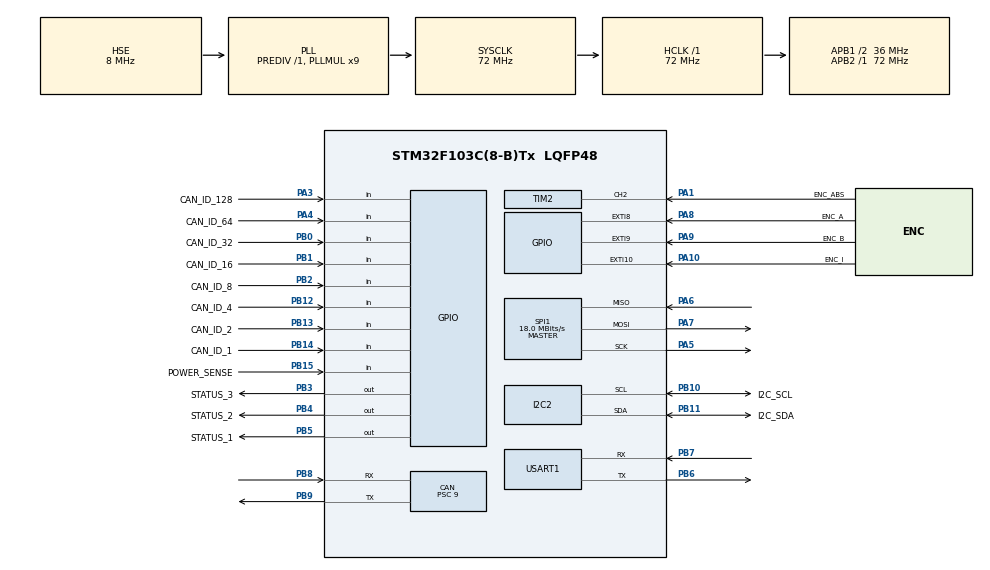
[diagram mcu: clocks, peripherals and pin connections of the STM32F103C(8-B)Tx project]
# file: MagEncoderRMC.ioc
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CAN.BS1=CAN_BS1_2TQ
CAN.CalculateTimeBit=1000
CAN.CalculateTimeQuantum=250.0
CAN.NART=ENABLE
CAN.Prescaler=9
CAN.TTCM=DISABLE
I2C2.I2C_Mode=I2C_Standard
Mcu.Family=STM32F1
Mcu.Name=STM32F103C(8-B)Tx
Mcu.Package=LQFP48
NVIC.EXTI15_10_IRQn=true\:0\:0\:false\:false\:true\:true\:true
NVIC.PriorityGroup=NVIC_PRIORITYGROUP_4
PA1.GPIO_Label=ENC_ABS
PA1.Signal=S_TIM2_CH2
PA10.GPIO_Label=ENC_I
PA10.GPIO_ModeDefaultEXTI=GPIO_MODE_IT_RISING
PA10.GPIO_PuPd=GPIO_PULLDOWN
PA10.Signal=GPXTI10
PA13.Mode=Serial_Wire
PA13.Signal=SYS_JTMS-SWDIO
PA14.Mode=Serial_Wire
PA14.Signal=SYS_JTCK-SWCLK
PA3.GPIO_Label=CAN_ID_128
PA3.GPIO_PuPd=GPIO_PULLDOWN
PA3.Signal=GPIO_Input
PA4.GPIO_Label=CAN_ID_64
PA4.GPIO_PuPd=GPIO_PULLDOWN
PA4.Signal=GPIO_Input
PA5.Mode=Full_Duplex_Master
PA5.Signal=SPI1_SCK
PA6.Mode=Full_Duplex_Master
PA6.Signal=SPI1_MISO
PA7.Mode=Full_Duplex_Master
PA7.Signal=SPI1_MOSI
PA8.GPIO_Label=ENC_A
PA8.GPIO_ModeDefaultEXTI=GPIO_MODE_IT_RISING_FALLING
PA8.GPIO_PuPd=GPIO_PULLDOWN
PA8.Signal=GPXTI8
PA9.GPIO_Label=ENC_B
PA9.GPIO_ModeDefaultEXTI=GPIO_MODE_IT_RISING_FALLING
PA9.GPIO_PuPd=GPIO_PULLDOWN
PA9.Signal=GPXTI9
PB0.GPIO_Label=CAN_ID_32
PB0.GPIO_PuPd=GPIO_PULLDOWN
PB0.Signal=GPIO_Input
PB1.GPIO_Label=CAN_ID_16
PB1.GPIO_PuPd=GPIO_PULLDOWN
PB1.Signal=GPIO_Input
PB10.GPIO_Label=I2C_SCL
PB10.Mode=I2C
PB10.Signal=I2C2_SCL
PB11.GPIO_Label=I2C_SDA
PB11.Mode=I2C
PB11.Signal=I2C2_SDA
PB12.GPIO_Label=CAN_ID_4
PB12.GPIO_PuPd=GPIO_PULLDOWN
PB12.Signal=GPIO_Input
PB13.GPIO_Label=CAN_ID_2
PB13.GPIO_PuPd=GPIO_PULLDOWN
PB13.Signal=GPIO_Input
PB14.GPIO_Label=CAN_ID_1
PB14.GPIO_PuPd=GPIO_PULLDOWN
PB14.Signal=GPIO_Input
PB15.GPIO_Label=POWER_SENSE
PB15.GPIO_PuPd=GPIO_NOPULL
PB15.Signal=GPIO_Input
PB2.GPIO_Label=CAN_ID_8
PB2.GPIO_PuPd=GPIO_PULLDOWN
PB2.Signal=GPIO_Input
PB3.GPIO_Label=STATUS_3
PB3.GPIO_PuPd=GPIO_PULLDOWN
PB3.GPIO_Speed=GPIO_SPEED_FREQ_LOW
PB3.PinState=GPIO_PIN_RESET
PB3.Signal=GPIO_Output
PB4.GPIO_Label=STATUS_2
PB4.GPIO_PuPd=GPIO_PULLDOWN
PB4.PinState=GPIO_PIN_RESET
PB4.Signal=GPIO_Output
PB5.GPIO_Label=STATUS_1
PB5.GPIO_PuPd=GPIO_PULLDOWN
PB5.Signal=GPIO_Output
PB6.Mode=Asynchronous
PB6.Signal=USART1_TX
PB7.Mode=Asynchronous
PB7.Signal=USART1_RX
PB8.Mode=Master
PB8.Signal=CAN_RX
PB9.Mode=Master
PB9.Signal=CAN_TX
PD0-OSC_IN.Mode=HSE-External-Oscillator
PD0-OSC_IN.Signal=RCC_OSC_IN
PD1-OSC_OUT.Mode=HSE-External-Oscillator
PD1-OSC_OUT.Signal=RCC_OSC_OUT
ProjectManager.HeapSize=0x200
ProjectManager.StackSize=0x400
ProjectManager.TargetToolchain=SW4STM32
RCC.AHBFreq_Value=72000000
RCC.APB1CLKDivider=RCC_HCLK_DIV2
RCC.APB1Freq_Value=36000000
RCC.APB1TimFreq_Value=72000000
RCC.APB2Freq_Value=72000000
RCC.APB2TimFreq_Value=72000000
RCC.HCLKFreq_Value=72000000
RCC.PLLMUL=RCC_PLL_MUL9
RCC.PLLSourceVirtual=RCC_PLLSOURCE_HSE
RCC.SYSCLKFreq_VALUE=72000000
RCC.SYSCLKSource=RCC_SYSCLKSOURCE_PLLCLK
RCC.USBFreq_Value=72000000
SH.S_TIM2_CH2.0=TIM2_CH2,PWM_Input_2
SPI1.BaudRatePrescaler=SPI_BAUDRATEPRESCALER_4
SPI1.CRCCalculation=SPI_CRCCALCULATION_DISABLE
SPI1.CalculateBaudRate=18.0 MBits/s
SPI1.DataSize=SPI_DATASIZE_16BIT
SPI1.Direction=SPI_DIRECTION_2LINES
SPI1.Mode=SPI_MODE_MASTER
SPI1.VirtualType=VM_MASTER
TIM2.CounterMode=TIM_COUNTERMODE_UP
USART1.VirtualMode=VM_ASYNC
VP_TIM2_VS_ClockSourceINT.Mode=Internal
board=custom

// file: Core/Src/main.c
/* USER CODE BEGIN Header */
/**
  ******************************************************************************
  * @file           : main.c
  * @brief          : Main program body
  ******************************************************************************
  * @attention
  *
  * <h2><center>&copy; Copyright (c) 2020 STMicroelectronics.
  * All rights reserved.</center></h2>
  *
  * This software component is licensed by ST under BSD 3-Clause license,
  * the "License"; You may not use this file except in compliance with the
  * License. You may obtain a copy of the License at:
  *                        opensource.org/licenses/BSD-3-Clause
  *
  ******************************************************************************
  */
/* USER CODE END Header */

#include "main.h"

/* USER CODE BEGIN Includes */
#include <string.h>
#include <stdbool.h>

#include "utils.h"
#include "memory.h"
#include "encoder.h"
#include "can.h"
/* USER CODE END Includes */

CAN_HandleTypeDef hcan;

I2C_HandleTypeDef hi2c2;

SPI_HandleTypeDef hspi1;

TIM_HandleTypeDef htim2;

UART_HandleTypeDef huart1;

void SystemClock_Config(void);
static void MX_GPIO_Init(void);
static void MX_CAN_Init(void);
static void MX_USART1_UART_Init(void);
static void MX_I2C2_Init(void);
static void MX_SPI1_Init(void);
static void MX_TIM2_Init(void);

/* USER CODE BEGIN 0 */

#define HAL_CHECK(func) if((func) != HAL_OK) { Error_Handler(); }

int16_t CAN_id;
bool power_ok;

uint64_t i2c_buffer;

Encoder_t encoder;
EncoderSettings_t encoder_settings;
EncoderDiagnostics_t encoder_diagnostics;

/* USER CODE END 0 */

int main(void)
{

  /* MCU Configuration--------------------------------------------------------*/

  /* Reset of all peripherals, Initializes the Flash interface and the Systick. */
  HAL_Init();

  /* Configure the system clock */
  SystemClock_Config();

  /* USER CODE BEGIN SysInit */

  __HAL_RCC_I2C2_CLK_ENABLE();

  /* USER CODE END SysInit */

  /* Initialize all configured peripherals */
  MX_GPIO_Init();
  MX_CAN_Init();
  MX_USART1_UART_Init();
  MX_I2C2_Init();
  MX_SPI1_Init();
  MX_TIM2_Init();
  /* USER CODE BEGIN 2 */
  if(HAL_CAN_Start(&hcan)) {
      Error_Handler();
  }

  CAN_id = 0b00000000;
  CAN_id += (HAL_GPIO_ReadPin(CAN_ID_1_GPIO_Port, CAN_ID_1_Pin) << 0u);
  CAN_id += (HAL_GPIO_ReadPin(CAN_ID_2_GPIO_Port, CAN_ID_2_Pin) << 1u);
  CAN_id += (HAL_GPIO_ReadPin(CAN_ID_4_GPIO_Port, CAN_ID_4_Pin) << 2u);
  CAN_id += (HAL_GPIO_ReadPin(CAN_ID_8_GPIO_Port, CAN_ID_8_Pin) << 3u);
  CAN_id += (HAL_GPIO_ReadPin(CAN_ID_16_GPIO_Port, CAN_ID_16_Pin) << 4u);
  CAN_id += (HAL_GPIO_ReadPin(CAN_ID_32_GPIO_Port, CAN_ID_32_Pin) << 5u);
  CAN_id += (HAL_GPIO_ReadPin(CAN_ID_64_GPIO_Port, CAN_ID_64_Pin) << 6u);
  CAN_id += (HAL_GPIO_ReadPin(CAN_ID_128_GPIO_Port, CAN_ID_128_Pin) << 7u);

  // initialize encoder
  encoder_init(&encoder);
  // encoder settings
  encoder_settings.zero_offset = 0;
  encoder_settings.error_en.error_low = 1;
  encoder_settings.error_en.error_high = 1;
  encoder_settings.settings1.iwidth = 0;
  encoder_settings.settings1.noiseset = 0;
  encoder_settings.settings1.dir = 0;
  encoder_settings.settings1.daecdis = 0;
  encoder_settings.settings1.dataselect = 0;
  encoder_settings.settings1.pwmon = 1;
  encoder_settings.settings2 = 0x0;

    HAL_CHECK(encoder_config_all_settings(&hspi1, &encoder, &encoder_settings));

  if(encoder_get_absolute_position(&hspi1, &encoder) != HAL_OK) {
      Error_Handler();
  }

  //eeprom

//    memset(i2c_buffer, 0, 128);
    #ifdef RESET_EEPROM_MEMORY
        HAL_CHECK(eeprom_clear_all(&hi2c2));
    #endif

    HAL_CHECK(eeprom_read_page(&hi2c2, ENCODER_TICKS_LOCATION, &i2c_buffer));
    encoder.count = (int32_t) i2c_buffer;

    HAL_CHECK(eeprom_read_page(&hi2c2, ENCODER_POLARITY_LOCATION, &i2c_buffer));

    HAL_CHECK(eeprom_read_page(&hi2c2, ENCODER_ABSOLUTE_OFFSET_LOCATION, &i2c_buffer));

    HAL_CHECK(eeprom_read_page(&hi2c2, FEEDBACK_PERIOD_LOCATION, &i2c_buffer));

  /* USER CODE END 2 */

  /* Infinite loop */
  while (1)
  {

    /* USER CODE BEGIN 3 */
    #ifdef HAS_5V5
        power_ok = HAL_GPIO_ReadPin(POWER_SENSE_GPIO_Port, POWER_SENSE_Pin);
    #else
        power_ok = true;
    #endif
    // check for panic (ie: the power is lo
    if(!power_ok) {
        // panic
        __disable_irq();
        HAL_GPIO_WritePin(STATUS_1_GPIO_Port, STATUS_1_Pin, 0);
        HAL_GPIO_WritePin(STATUS_2_GPIO_Port, STATUS_2_Pin, 0);
        HAL_GPIO_WritePin(STATUS_3_GPIO_Port, STATUS_3_Pin, 0);

        i2c_buffer = encoder.count;
        HAL_CHECK(eeprom_write_page(&hi2c2, ENCODER_TICKS_LOCATION, &i2c_buffer));
        i2c_buffer = encoder.inverted;
        HAL_CHECK(eeprom_write_page(&hi2c2, ENCODER_POLARITY_LOCATION, &i2c_buffer));
        i2c_buffer = encoder.absolute_offset;
        HAL_CHECK(eeprom_write_page(&hi2c2, ENCODER_ABSOLUTE_OFFSET_LOCATION, &i2c_buffer));
        i2c_buffer = 20; // CHANGE THIS LATER
        HAL_CHECK(eeprom_write_page(&hi2c2, FEEDBACK_PERIOD_LOCATION, &i2c_buffer));

        // wait until power is back
        while(!HAL_GPIO_ReadPin(POWER_SENSE_GPIO_Port, POWER_SENSE_Pin)) {}
        __enable_irq();
        continue;
    }

    uint32_t can_frame_available = HAL_CAN_GetRxFifoFillLevel(&hcan, CAN_RX_FIFO0);
    if(can_frame_available > 0) {
        CAN_RxHeaderTypeDef hddr;
        uint8_t data[8];
        HAL_CAN_GetRxMessage(&hcan, CAN_RX_FIFO0, &hddr, data);
    }

      encoder_get_diagnostics(&hspi1, &encoder, &encoder_diagnostics);
      encoder_get_errors(&hspi1, &encoder, &encoder_diagnostics);
      encoder_get_absolute_position(&hspi1, &encoder);

      // turn off status1 led if magnet placement is good
      if(!encoder_diagnostics.mag_low && !encoder_diagnostics.mag_high) {
          HAL_GPIO_WritePin(STATUS_2_GPIO_Port, STATUS_2_Pin, 0);
      } else {
          HAL_GPIO_WritePin(STATUS_2_GPIO_Port, STATUS_2_Pin, 1);
      }
  }
  /* USER CODE END 3 */
}

void SystemClock_Config(void)
{
  RCC_OscInitTypeDef RCC_OscInitStruct = {0};
  RCC_ClkInitTypeDef RCC_ClkInitStruct = {0};

  /** Initializes the CPU, AHB and APB busses clocks
  */
  RCC_OscInitStruct.OscillatorType = RCC_OSCILLATORTYPE_HSE;
  RCC_OscInitStruct.HSEState = RCC_HSE_ON;
  RCC_OscInitStruct.HSEPredivValue = RCC_HSE_PREDIV_DIV1;
  RCC_OscInitStruct.HSIState = RCC_HSI_ON;
  RCC_OscInitStruct.PLL.PLLState = RCC_PLL_ON;
  RCC_OscInitStruct.PLL.PLLSource = RCC_PLLSOURCE_HSE;
  RCC_OscInitStruct.PLL.PLLMUL = RCC_PLL_MUL9;
  if (HAL_RCC_OscConfig(&RCC_OscInitStruct) != HAL_OK)
  {
    Error_Handler();
  }
  /** Initializes the CPU, AHB and APB busses clocks
  */
  RCC_ClkInitStruct.ClockType = RCC_CLOCKTYPE_HCLK|RCC_CLOCKTYPE_SYSCLK
                              |RCC_CLOCKTYPE_PCLK1|RCC_CLOCKTYPE_PCLK2;
  RCC_ClkInitStruct.SYSCLKSource = RCC_SYSCLKSOURCE_PLLCLK;
  RCC_ClkInitStruct.AHBCLKDivider = RCC_SYSCLK_DIV1;
  RCC_ClkInitStruct.APB1CLKDivider = RCC_HCLK_DIV2;
  RCC_ClkInitStruct.APB2CLKDivider = RCC_HCLK_DIV1;

  if (HAL_RCC_ClockConfig(&RCC_ClkInitStruct, FLASH_LATENCY_2) != HAL_OK)
  {
    Error_Handler();
  }
}

static void MX_CAN_Init(void)
{

  hcan.Instance = CAN1;
  hcan.Init.Prescaler = 9;
  hcan.Init.Mode = CAN_MODE_NORMAL;
  hcan.Init.SyncJumpWidth = CAN_SJW_1TQ;
  hcan.Init.TimeSeg1 = CAN_BS1_2TQ;
  hcan.Init.TimeSeg2 = CAN_BS2_1TQ;
  hcan.Init.TimeTriggeredMode = DISABLE;
  hcan.Init.AutoBusOff = DISABLE;
  hcan.Init.AutoWakeUp = DISABLE;
  hcan.Init.AutoRetransmission = ENABLE;
  hcan.Init.ReceiveFifoLocked = DISABLE;
  hcan.Init.TransmitFifoPriority = DISABLE;
  if (HAL_CAN_Init(&hcan) != HAL_OK)
  {
    Error_Handler();
  }
  /* USER CODE BEGIN CAN_Init 2 */
    CAN_FilterTypeDef can_filter = {};

    can_filter.FilterFIFOAssignment = CAN_RX_FIFO0;
    can_filter.FilterMode = CAN_FILTERMODE_IDMASK;
    can_filter.FilterScale = CAN_FILTERSCALE_32BIT;
    can_filter.FilterIdHigh = 0x0000;
    can_filter.FilterIdLow = 0x0000;
    can_filter.FilterMaskIdHigh = 0x0000;
    can_filter.FilterMaskIdLow = 0x0000;
    can_filter.FilterBank = 0;
    can_filter.FilterActivation = CAN_FILTER_ENABLE;
    HAL_CAN_ConfigFilter(&hcan, &can_filter);
  /* USER CODE END CAN_Init 2 */

}

static void MX_I2C2_Init(void)
{

  hi2c2.Instance = I2C2;
  hi2c2.Init.ClockSpeed = 100000;
  hi2c2.Init.DutyCycle = I2C_DUTYCYCLE_2;
  hi2c2.Init.OwnAddress1 = 0;
  hi2c2.Init.AddressingMode = I2C_ADDRESSINGMODE_7BIT;
  hi2c2.Init.DualAddressMode = I2C_DUALADDRESS_DISABLE;
  hi2c2.Init.OwnAddress2 = 0;
  hi2c2.Init.GeneralCallMode = I2C_GENERALCALL_DISABLE;
  hi2c2.Init.NoStretchMode = I2C_NOSTRETCH_DISABLE;
  if (HAL_I2C_Init(&hi2c2) != HAL_OK)
  {
    Error_Handler();
  }
  /* USER CODE BEGIN I2C2_Init 2 */
  // https://tutel.me/c/electronics/questions/272427/stm32+busy+flag+is+set+after+i2c+initialization
  // 1

  /* USER CODE END I2C2_Init 2 */

}

static void MX_SPI1_Init(void)
{

  /* SPI1 parameter configuration*/
  hspi1.Instance = SPI1;
  hspi1.Init.Mode = SPI_MODE_MASTER;
  hspi1.Init.Direction = SPI_DIRECTION_2LINES;
  hspi1.Init.DataSize = SPI_DATASIZE_16BIT;
  hspi1.Init.CLKPolarity = SPI_POLARITY_LOW;
  hspi1.Init.CLKPhase = SPI_PHASE_1EDGE;
  hspi1.Init.NSS = SPI_NSS_SOFT;
  hspi1.Init.BaudRatePrescaler = SPI_BAUDRATEPRESCALER_4;
  hspi1.Init.FirstBit = SPI_FIRSTBIT_MSB;
  hspi1.Init.TIMode = SPI_TIMODE_DISABLE;
  hspi1.Init.CRCCalculation = SPI_CRCCALCULATION_DISABLE;
  hspi1.Init.CRCPolynomial = 10;
  if (HAL_SPI_Init(&hspi1) != HAL_OK)
  {
    Error_Handler();
  }

}

static void MX_TIM2_Init(void)
{

  TIM_ClockConfigTypeDef sClockSourceConfig = {0};
  TIM_SlaveConfigTypeDef sSlaveConfig = {0};
  TIM_IC_InitTypeDef sConfigIC = {0};
  TIM_MasterConfigTypeDef sMasterConfig = {0};

  htim2.Instance = TIM2;
  htim2.Init.Prescaler = 0;
  htim2.Init.CounterMode = TIM_COUNTERMODE_UP;
  htim2.Init.Period = 0;
  htim2.Init.ClockDivision = TIM_CLOCKDIVISION_DIV1;
  htim2.Init.AutoReloadPreload = TIM_AUTORELOAD_PRELOAD_DISABLE;
  if (HAL_TIM_Base_Init(&htim2) != HAL_OK)
  {
    Error_Handler();
  }
  sClockSourceConfig.ClockSource = TIM_CLOCKSOURCE_INTERNAL;
  if (HAL_TIM_ConfigClockSource(&htim2, &sClockSourceConfig) != HAL_OK)
  {
    Error_Handler();
  }
  if (HAL_TIM_IC_Init(&htim2) != HAL_OK)
  {
    Error_Handler();
  }
  sSlaveConfig.SlaveMode = TIM_SLAVEMODE_RESET;
  sSlaveConfig.InputTrigger = TIM_TS_TI2FP2;
  sSlaveConfig.TriggerPolarity = TIM_INPUTCHANNELPOLARITY_FALLING;
  sSlaveConfig.TriggerPrescaler = TIM_ICPSC_DIV1;
  sSlaveConfig.TriggerFilter = 0;
  if (HAL_TIM_SlaveConfigSynchro(&htim2, &sSlaveConfig) != HAL_OK)
  {
    Error_Handler();
  }
  sConfigIC.ICPolarity = TIM_INPUTCHANNELPOLARITY_RISING;
  sConfigIC.ICSelection = TIM_ICSELECTION_INDIRECTTI;
  sConfigIC.ICPrescaler = TIM_ICPSC_DIV1;
  sConfigIC.ICFilter = 0;
  if (HAL_TIM_IC_ConfigChannel(&htim2, &sConfigIC, TIM_CHANNEL_1) != HAL_OK)
  {
    Error_Handler();
  }
  sConfigIC.ICPolarity = TIM_INPUTCHANNELPOLARITY_FALLING;
  sConfigIC.ICSelection = TIM_ICSELECTION_DIRECTTI;
  if (HAL_TIM_IC_ConfigChannel(&htim2, &sConfigIC, TIM_CHANNEL_2) != HAL_OK)
  {
    Error_Handler();
  }
  sMasterConfig.MasterOutputTrigger = TIM_TRGO_RESET;
  sMasterConfig.MasterSlaveMode = TIM_MASTERSLAVEMODE_DISABLE;
  if (HAL_TIMEx_MasterConfigSynchronization(&htim2, &sMasterConfig) != HAL_OK)
  {
    Error_Handler();
  }

}

static void MX_USART1_UART_Init(void)
{

  huart1.Instance = USART1;
  huart1.Init.BaudRate = 115200;
  huart1.Init.WordLength = UART_WORDLENGTH_8B;
  huart1.Init.StopBits = UART_STOPBITS_1;
  huart1.Init.Parity = UART_PARITY_NONE;
  huart1.Init.Mode = UART_MODE_TX_RX;
  huart1.Init.HwFlowCtl = UART_HWCONTROL_NONE;
  huart1.Init.OverSampling = UART_OVERSAMPLING_16;
  if (HAL_UART_Init(&huart1) != HAL_OK)
  {
    Error_Handler();
  }

}

static void MX_GPIO_Init(void)
{
  GPIO_InitTypeDef GPIO_InitStruct = {0};

  /* GPIO Ports Clock Enable */
  __HAL_RCC_GPIOD_CLK_ENABLE();
  __HAL_RCC_GPIOA_CLK_ENABLE();
  __HAL_RCC_GPIOB_CLK_ENABLE();

  /*Configure GPIO pin Output Level */
  HAL_GPIO_WritePin(GPIOB, STATUS_3_Pin|STATUS_2_Pin|STATUS_1_Pin, GPIO_PIN_RESET);

  /*Configure GPIO pins : CAN_ID_128_Pin CAN_ID_64_Pin */
  GPIO_InitStruct.Pin = CAN_ID_128_Pin|CAN_ID_64_Pin;
  GPIO_InitStruct.Mode = GPIO_MODE_INPUT;
  GPIO_InitStruct.Pull = GPIO_PULLDOWN;
  HAL_GPIO_Init(GPIOA, &GPIO_InitStruct);

  /*Configure GPIO pins : CAN_ID_32_Pin CAN_ID_16_Pin CAN_ID_8_Pin CAN_ID_4_Pin
                           CAN_ID_2_Pin CAN_ID_1_Pin */
  GPIO_InitStruct.Pin = CAN_ID_32_Pin|CAN_ID_16_Pin|CAN_ID_8_Pin|CAN_ID_4_Pin
                          |CAN_ID_2_Pin|CAN_ID_1_Pin;
  GPIO_InitStruct.Mode = GPIO_MODE_INPUT;
  GPIO_InitStruct.Pull = GPIO_PULLDOWN;
  HAL_GPIO_Init(GPIOB, &GPIO_InitStruct);

  /*Configure GPIO pin : POWER_SENSE_Pin */
  GPIO_InitStruct.Pin = POWER_SENSE_Pin;
  GPIO_InitStruct.Mode = GPIO_MODE_INPUT;
  GPIO_InitStruct.Pull = GPIO_NOPULL;
  HAL_GPIO_Init(POWER_SENSE_GPIO_Port, &GPIO_InitStruct);

  /*Configure GPIO pins : ENC_A_Pin ENC_B_Pin */
  GPIO_InitStruct.Pin = ENC_A_Pin|ENC_B_Pin;
  GPIO_InitStruct.Mode = GPIO_MODE_IT_RISING_FALLING;
  GPIO_InitStruct.Pull = GPIO_PULLDOWN;
  HAL_GPIO_Init(GPIOA, &GPIO_InitStruct);

  /*Configure GPIO pin : ENC_I_Pin */
  GPIO_InitStruct.Pin = ENC_I_Pin;
  GPIO_InitStruct.Mode = GPIO_MODE_IT_RISING;
  GPIO_InitStruct.Pull = GPIO_PULLDOWN;
  HAL_GPIO_Init(ENC_I_GPIO_Port, &GPIO_InitStruct);

  /*Configure GPIO pins : STATUS_3_Pin STATUS_2_Pin STATUS_1_Pin */
  GPIO_InitStruct.Pin = STATUS_3_Pin|STATUS_2_Pin|STATUS_1_Pin;
  GPIO_InitStruct.Mode = GPIO_MODE_OUTPUT_PP;
  GPIO_InitStruct.Pull = GPIO_PULLDOWN;
  GPIO_InitStruct.Speed = GPIO_SPEED_FREQ_LOW;
  HAL_GPIO_Init(GPIOB, &GPIO_InitStruct);

  /* EXTI interrupt init*/
  HAL_NVIC_SetPriority(EXTI15_10_IRQn, 0, 0);
  HAL_NVIC_EnableIRQ(EXTI15_10_IRQn);

}

/* USER CODE BEGIN 4 */
void HAL_GPIO_EXTI_Callback(uint16_t pin) {
    if(pin == ENC_A_Pin || pin == ENC_B_Pin) {
        bool a_high, b_high;
        a_high = HAL_GPIO_ReadPin(ENC_A_GPIO_Port, ENC_A_Pin);
        b_high = HAL_GPIO_ReadPin(ENC_B_GPIO_Port, ENC_B_Pin);
        encoder_update_count(&encoder, a_high, b_high);
        HAL_GPIO_TogglePin(STATUS_3_GPIO_Port, STATUS_3_Pin);
    } else if(pin == ENC_I_Pin) {
        // what do we want to do with this?
    }
}
/* USER CODE END 4 */

void Error_Handler(void)
{
  /* USER CODE BEGIN Error_Handler_Debug */
  /* User can add his own implementation to report the HAL error return state */
  HAL_GPIO_WritePin(STATUS_1_GPIO_Port, STATUS_1_Pin, 0);
  HAL_GPIO_WritePin(STATUS_2_GPIO_Port, STATUS_2_Pin, 0);
  HAL_GPIO_WritePin(STATUS_3_GPIO_Port, STATUS_3_Pin, 0);
  for(;;) {
      HAL_Delay(250);
      HAL_GPIO_TogglePin(STATUS_1_GPIO_Port, STATUS_1_Pin);
      HAL_GPIO_TogglePin(STATUS_2_GPIO_Port, STATUS_2_Pin);
      HAL_GPIO_TogglePin(STATUS_3_GPIO_Port, STATUS_3_Pin);
  }
  /* USER CODE END Error_Handler_Debug */
}

/************************ (C) COPYRIGHT STMicroelectronics *****END OF FILE****/
